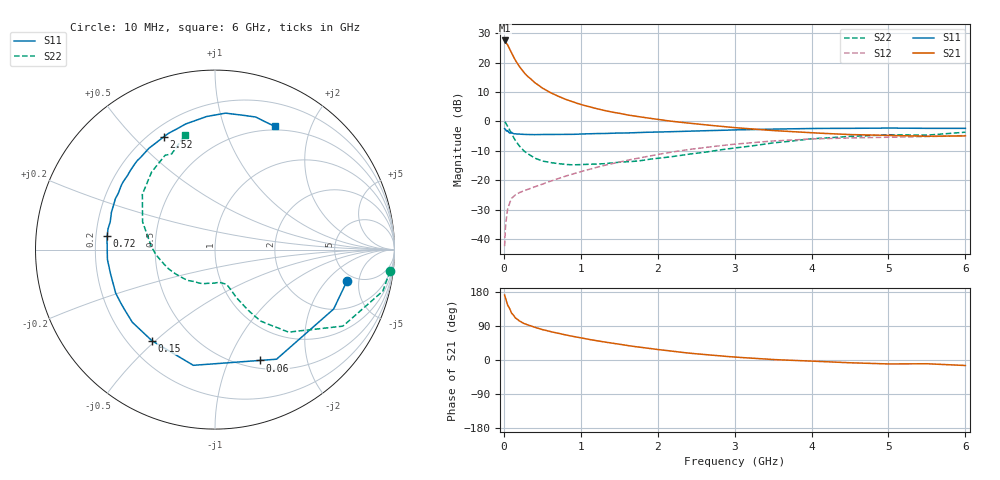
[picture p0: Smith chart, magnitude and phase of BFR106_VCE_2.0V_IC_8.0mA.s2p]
! (c) 2015  Infineon Technologies AG, Munich
! Infineon Technologies  Discrete & RF Semiconductors
! BFR106
! VCE =  2.0 V,  IC =  8.0 mA
! Common Emitter S-Parameters:  Nov 2015
# GHz  S  MA  R  50
!  f  S11  S21  S12  S22
! GHz  MAG  ANG  MAG  ANG  MAG  ANG  MAG  ANG
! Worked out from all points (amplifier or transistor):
!   210 points, 10 MHz to 6 GHz, reference 50 ohm
!   highest |S21| = 27.5 dB at 10 MHz (marker M1)
!   |S21| within 3 dB of that: start of sweep to 76.23 MHz
!   unconditionally stable (mu >= 1): 513.9 MHz to 2.33 GHz; 4.398 GHz to end of sweep
!   at 185 MHz: K = 0.51, MSG = 21.9 dB, |S12| = -24.4 dB
!   at 1.52 GHz: K = 1.10, MAG = 6.2 dB, |S12| = -13.7 dB
!   at 6 GHz: K = 1.02, MAG = -0.9 dB, |S12| = -4.8 dB
!   S11 on the Smith chart (normalised r, x): 10 MHz: 4.20, -3.47; 60 MHz: 0.59, -1.31; 150 MHz: 0.30, -0.49; 720 MHz: 0.25, +0.06; 2.52 GHz: 0.26, +0.62; 6 GHz: 0.46, +1.50
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0.01  0.7553 -13.6  23.8 171.4  0.0076 84.7  0.9827 -7.0
0.02  0.7393 -26.6  23.18 164.5  0.0148 76.4  0.9632 -13.9
0.05  0.7004 -60.7  19.89 144.6  0.0328 62.2  0.8303 -30.9
0.06  0.6663 -68.0  18.68 141.4  0.0359 58.4  0.7827 -33.6
0.1  0.6559 -100.6  14.62 123.9  0.0493 48.1  0.6161 -48.3
0.15  0.6176 -124.6  10.93 111.0  0.0564 42.4  0.4729 -57.4
0.2  0.6133 -138.7  8.669 103.3  0.0616 41.2  0.3856 -61.3
0.24  0.6045 -146.9  7.384 98.6  0.0647 41.0  0.3368 -63.5
0.3  0.6041 -156.4  5.991 93.1  0.0693 42.6  0.2888 -66.1
0.4  0.5975 -167.2  4.588 86.2  0.0774 45.4  0.2389 -68.6
0.5  0.6019 -174.8  3.7 80.3  0.086 48.3  0.2128 -70.3
0.6  0.6011 179.0  3.118 75.1  0.096 50.8  0.2007 -73.0
0.72  0.6052 172.7  2.641 69.6  0.1083 53.3  0.1914 -77.4
0.9  0.6038 165.2  2.138 62.1  0.1287 55.8  0.183 -83.5
1.02  0.6138 159.5  1.913 57.8  0.1426 56.6  0.1857 -88.6
1.4  0.6319 146.4  1.449 44.8  0.1911 57.0  0.1978 -106.3
2.02  0.6619 127.9  1.073 27.3  0.2779 51.9  0.2381 -137.9
2.52  0.6905 114.3  0.903 16.1  0.3487 45.2  0.2897 -161.9
3.1  0.7219 101.2  0.768 6.4  0.4218 35.5  0.3663 173.3
4.1  0.762 84.2  0.633 -3.8  0.508 18.3  0.5162 139.8
5.1  0.7704 71.9  0.575 -10.3  0.5426 4.4  0.5925 117.2
6  0.7636 64.1  0.569 -14.5  0.5763 -5.6  0.6579 104.8
